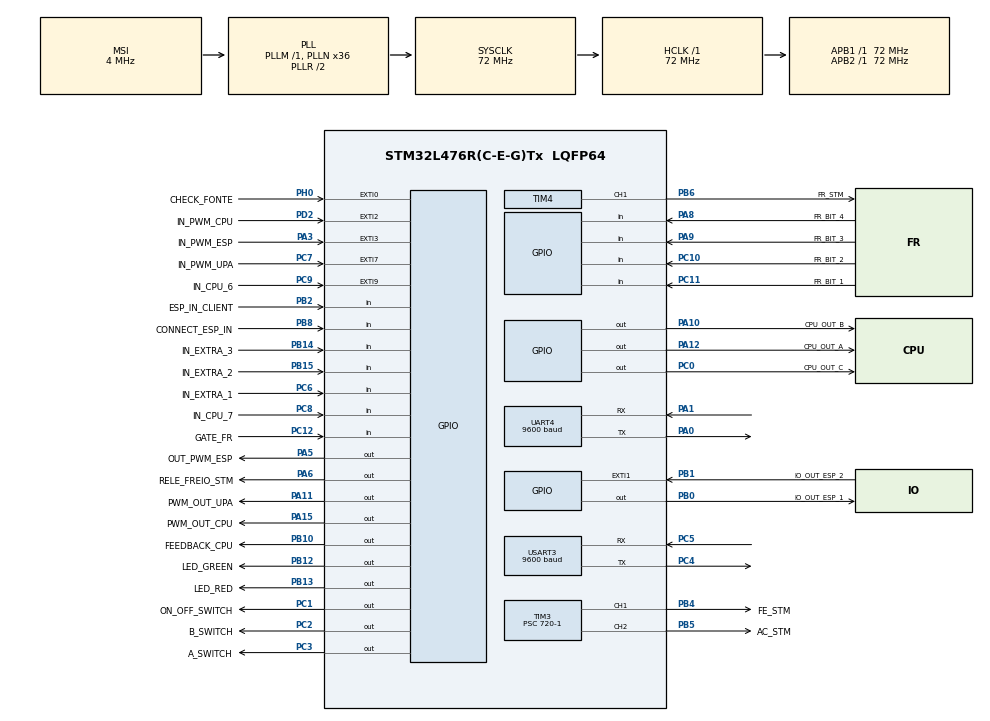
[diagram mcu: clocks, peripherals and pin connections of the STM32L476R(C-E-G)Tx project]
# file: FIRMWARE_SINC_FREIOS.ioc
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Mcu.Family=STM32L4
Mcu.Name=STM32L476R(C-E-G)Tx
Mcu.Package=LQFP64
NVIC.EXTI0_IRQn=true\:0\:0\:false\:false\:true\:true\:true
NVIC.EXTI1_IRQn=true\:0\:0\:false\:false\:true\:true\:true
NVIC.EXTI2_IRQn=true\:0\:0\:false\:false\:true\:true\:true
NVIC.EXTI3_IRQn=true\:0\:0\:false\:false\:true\:true\:true
NVIC.EXTI9_5_IRQn=true\:0\:0\:false\:false\:true\:true\:true
NVIC.PriorityGroup=NVIC_PRIORITYGROUP_4
NVIC.TIM1_UP_TIM16_IRQn=true\:0\:0\:false\:false\:true\:true\:true
NVIC.TIM3_IRQn=true\:0\:0\:false\:false\:true\:true\:true
NVIC.TIM4_IRQn=true\:0\:0\:false\:false\:true\:true\:true
NVIC.UART4_IRQn=true\:0\:0\:false\:false\:true\:true\:true
NVIC.USART3_IRQn=true\:0\:0\:false\:false\:true\:true\:true
PA0.Mode=Asynchronous
PA0.Signal=UART4_TX
PA1.Mode=Asynchronous
PA1.Signal=UART4_RX
PA10.GPIO_Label=CPU_OUT_B
PA10.Signal=GPIO_Output
PA11.GPIO_Label=PWM_OUT_UPA
PA11.Signal=GPIO_Output
PA12.GPIO_Label=CPU_OUT_A
PA12.Signal=GPIO_Output
PA15\ (JTDI).GPIO_Label=PWM_OUT_CPU
PA15\ (JTDI).Signal=GPIO_Output
PA3.GPIO_Label=IN_PWM_ESP
PA3.Signal=GPXTI3
PA5.GPIO_Label=OUT_PWM_ESP
PA5.Signal=GPIO_Output
PA6.GPIO_Label=RELE_FREIO_STM
PA6.Signal=GPIO_Output
PA8.GPIO_Label=FR_BIT_4
PA8.Signal=GPIO_Input
PA9.GPIO_Label=FR_BIT_3
PA9.Signal=GPIO_Input
PB0.GPIO_Label=IO_OUT_ESP_1
PB0.Signal=GPIO_Output
PB1.GPIO_Label=IO_OUT_ESP_2
PB1.GPIO_ModeDefaultEXTI=GPIO_MODE_IT_RISING_FALLING
PB1.Signal=GPXTI1
PB10.GPIO_Label=FEEDBACK_CPU
PB10.Signal=GPIO_Output
PB12.GPIO_Label=LED_GREEN
PB12.Signal=GPIO_Output
PB13.GPIO_Label=LED_RED
PB13.Signal=GPIO_Output
PB14.GPIO_Label=IN_EXTRA_3
PB14.Signal=GPIO_Input
PB15.GPIO_Label=IN_EXTRA_2
PB15.Signal=GPIO_Input
PB2.GPIO_Label=ESP_IN_CLIENT
PB2.Signal=GPIO_Input
PB4\ (NJTRST).GPIO_Label=FE_STM
PB4\ (NJTRST).Signal=S_TIM3_CH1
PB5.GPIO_Label=AC_STM
PB5.Signal=S_TIM3_CH2
PB6.GPIO_Label=FR_STM
PB6.Signal=S_TIM4_CH1
PB8.GPIO_Label=CONNECT_ESP_IN
PB8.Signal=GPIO_Input
PC0.GPIO_Label=CPU_OUT_C
PC0.Signal=GPIO_Output
PC1.GPIO_Label=ON_OFF_SWITCH
PC1.Signal=GPIO_Output
PC10.GPIO_Label=FR_BIT_2
PC10.Signal=GPIO_Input
PC11.GPIO_Label=FR_BIT_1
PC11.Signal=GPIO_Input
PC12.GPIO_Label=GATE_FR
PC12.Signal=GPIO_Input
PC2.GPIO_Label=B_SWITCH
PC2.Signal=GPIO_Output
PC3.GPIO_Label=A_SWITCH
PC3.Signal=GPIO_Output
PC4.Mode=Asynchronous
PC4.Signal=USART3_TX
PC5.Mode=Asynchronous
PC5.Signal=USART3_RX
PC6.GPIO_Label=IN_EXTRA_1
PC6.Signal=GPIO_Input
PC7.GPIO_Label=IN_PWM_UPA
PC7.GPIO_ModeDefaultEXTI=GPIO_MODE_IT_RISING
PC7.Signal=GPXTI7
PC8.GPIO_Label=IN_CPU_7
PC8.Signal=GPIO_Input
PC9.GPIO_Label=IN_CPU_6
PC9.GPIO_ModeDefaultEXTI=GPIO_MODE_IT_RISING_FALLING
PC9.Signal=GPXTI9
PD2.GPIO_Label=IN_PWM_CPU
PD2.GPIO_ModeDefaultEXTI=GPIO_MODE_IT_RISING
PD2.Signal=GPXTI2
PH0-OSC_IN\ (PH0).GPIO_Label=CHECK_FONTE
PH0-OSC_IN\ (PH0).GPIO_ModeDefaultEXTI=GPIO_MODE_IT_RISING_FALLING
PH0-OSC_IN\ (PH0).Signal=GPXTI0
ProjectManager.HeapSize=0x200
ProjectManager.StackSize=0x400
ProjectManager.TargetToolchain=STM32CubeIDE
RCC.AHBFreq_Value=72000000
RCC.APB1Freq_Value=72000000
RCC.APB1TimFreq_Value=72000000
RCC.APB2Freq_Value=72000000
RCC.APB2TimFreq_Value=72000000
RCC.CortexFreq_Value=72000000
RCC.HCLKFreq_Value=72000000
RCC.HSE_VALUE=8000000
RCC.HSI_VALUE=16000000
RCC.LSE_VALUE=32768
RCC.MSI_VALUE=4000000
RCC.PLLN=36
RCC.SYSCLKFreq_VALUE=72000000
RCC.SYSCLKSource=RCC_SYSCLKSOURCE_PLLCLK
RCC.VCOOutputFreq_Value=144000000
SH.S_TIM3_CH1.0=TIM3_CH1,PWM Generation1 CH1
SH.S_TIM3_CH2.0=TIM3_CH2,PWM Generation2 CH2
SH.S_TIM4_CH1.0=TIM4_CH1,PWM Generation1 CH1
TIM16.Period=100-1
TIM16.Prescaler=720-1
TIM3.Channel-PWM\ Generation1\ CH1=TIM_CHANNEL_1
TIM3.Channel-PWM\ Generation2\ CH2=TIM_CHANNEL_2
TIM3.Period=200-1
TIM3.Prescaler=720-1
TIM4.Channel-PWM\ Generation1\ CH1=TIM_CHANNEL_1
TIM4.Period=200-1
TIM4.Prescaler=720-1
UART4.BaudRate=9600
USART3.BaudRate=9600
USART3.VirtualMode-Asynchronous=VM_ASYNC
VP_TIM16_VS_ClockSourceINT.Mode=Enable_Timer
board=custom

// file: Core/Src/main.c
/* USER CODE BEGIN Header */
/**
  ******************************************************************************
  * @file           : main.c
  * @brief          : SEMA Main program body
  * @author			: Matheus Gouveia
  * @brief   		: Sistema de Emergencia e Monitoramento do autonomo (SEMA)
  *          		  This software is for Microcontroller STM32 L476RG
  *          		  Comunicacao com CPU, UPA e ESP32
  *          		  Monitora o sistema e atua caso CPU ou UPA falhem
  *         		  Atua remotamente por botao de emergencia do controlador
  *          		  Retorna feedbacks ao controlador, ao CPU e ao ESP
  *          		  Atua em conjunto com o microcontrolador ESP32
  *          		  Linguagem de programacao utilizada: C
  *
  ******************************************************************************
  * @attention
  *
  * <h2><center>&copy; Copyright (c) 2022 STMicroelectronics.
  * All rights reserved.</center></h2>
  *
  * This software component is licensed by ST under BSD 3-Clause license,
  * the "License"; You may not use this file except in compliance with the
  * License. You may obtain a copy of the License at:
  *                        opensource.org/licenses/BSD-3-Clause
  *
  *  Sistema de Emergencia e Monitoramento do Autonomo (SEMA)
  *  <h2><center>&copy;
  *  All rights reserved.</center></h2>
  *
  *  Created on: 30/08/2022
  *  Os direitos autorais devem ser incluidos
  *  em todas as copias ou partes substanciais do Software.
  *      Author: Matheus Gouveia.
  *
  * ===============================================================================
  *                      ##### EXPLICACAO DO SOFTWARE #####
  *  ===============================================================================
  * [..]
  *
  *  PINOUT:
  *
  *  (#) CPU communication PINS:
  *    (*) IN_CPU_6: Recebimento de comandos do CPU para frear ou desativar freio.
  *                        1 -> Freio atuado. 0-> Freio nao atuado.
  *    (*) FEEDBACK_CPU: Envio de feedbacks para CPU apos atuacao.
  *                        1 -> Freio atuado. 0-> Freio nao atuado.
  *    (*) IN_PWM_CPU: Recebe o PWM indicativo do estado de funcionamento do CPU.
  *    (*) PWM_OUT_CPU: Envia o PWM indicativo do estado de funcionamento do STM32.
  *    (*) GATE_FR: Habilita o ajuste do freio de retardo pelo CPU.
  *    (*) FR_BIT_1: Bit 1 do ajuste do freio de retardo pelo CPU.
  *    (*) FR_BIT_2: Bit 2 "									"
  *    (*) FR_BIT_3: Bit 3 "									"
  *    (*) FR_BIT_4: Bit 4 "									"
  *    (*) CPU_OUT_A: Primeiro pino para informar status do sistema para CPU.
  *    (*) CPU_OUT_B: Segundo pino "									"
  *    (*) CPU_OUT_C: Terceiro pino "									"
  *
  *
  *  (#) UPA communication PINS:
  *    (*) IN_PWM_UPA: Recebe o PWM indicativo do estado de funcionamento da UPA.
  *    (*) PWM_OUT_UPA: Envia o PWM indicativo do estado de funcionamento do STM32.
  *
  *  (#) ESP communication PINS:
  *    (*) IO_OUT_ESP_2: Recebimento de feedbacks do ESP apos atuacao deste.
  *                        1 -> Freio atuado. 0-> Freio nao atuado.
  *    (*) IO_OUT_ESP_1: Envio de feedbacks para ESP apos atuacao.
  *                        1 -> Freio atuado. 0-> Freio nao atuado.
  *    (*) OUT_PWM_ESP: Envia um PWM indicativo do estado de funcionamento do STM32.
  *    (*) IN_PWM_ESP: Recebe o PWM indicativo do estado de funcionamento do ESP.
  *    (*) CONNECT_ESP_IN: Recebe um sinal digital para informar a conexao do ESP.
  *                        1 -> conectado. 0-> nao conectado.
  *    (*) ESP_IN_CLIENTE: Recebe sinal digital do ESP indicando conexao dos clientes.
  *                      1 -> ao menos 1 cliente conectado. 0-> nao conectado.
  *
  *  (#) Actuation pins:
  *    (*) RELE_FREIO_STM: Saida digital responsavel por atuar o rele de freio.
  *    (*) FE_STM: Geracao do PWM do freio de emergencia para a ECM do caminhao.
  *    (*) AC_STM: Geracao do PWM do acelerador para a ECM do caminhao.
  *    (*) FR_STM: Geracao do PWM do freio de retardo para a ECM do caminhao.
  *    (*) ON_OFF_SWITCH: Pino para ligar o MUX
  *    (*) A_SWITCH: Pino A para trocar posicao do MUX.
  *    (*) B_SWITCH: Pino B "						   "
  *
  *  (#) Indication pins:
  *    (*) LED_GREEN: Led para indicar recebimento RX do radio (UART 3)
  *    (*) LED_RED: Led para indicar envio TX para radio (UART 3)
  *    (*) CHECK_FONTE: Indica o estado da bateria do caminhao.
  *    					1 -> Bateria OK. 0-> Falha na alimentacao.
  *
  *  (#) RESUMO:
  *      (+) Em condicoes normais, os reles nao estao atuados.
  *      (+) Posicao do MUX padrao: sinais da UPA.
  *      (+) Recebimento de PWM indicativo de estado de funcionamento:
  *        - Feito por meio de pinos de interrupcao externa.
  *        - A interrupcao zera contadores.
  *        - Se os contadores ultrapassarem um limite (timeout),
  *          e entendido como falha.
  *        - Uma callback ocorre a cada overflow do timer 16 (1 ms).
  *        - Nessa callback, e feito o monitoramento e a
  *          identificacao de falhas.
  *        - Falha ESP: +1, Falha UPA: +2, Falha CPU: +5.
  *          Ex.: Falha de numero 7 = Falha UPA e CPU (5 + 2)
  *
  *      (+) Condicoes de atuacao:
  *        - Falha da UPA
  *        - Falha do CPU
  *        - Falha de ambos
  *        - Ordem direta do controlador (botao de emergencia)
  *        - Com ordem direta do CPU
  *      (+) Na atuacao, o rele atua e envia para ECM os PWM gerados,
  *      	 em conjunto com a troca da posicao do MUX (STM).
  *      (+) Um menu de configuracao pode ser acessado.
  *        - Os parametros configurados podem ser salvos na flash.
  *        - Os parametros configurados podem ser apagados da flash.
  *      (+) Eventualidades sao informadas a qualquer momento por UART4,
  *          contendo timestamp (tempo apos inicio do funcionamento).
  *      (+) Conexao:
  *        - Recebe PING do transmissor na torre de controle.
  *        - Responde PONG ao transmissor.
  *        - Se parar de receber PING, indica perda de conexao do STM.
  *      (+) A placa possui sistema preventivo de queda de energia.
  *        - Se o sistema perder a alimentacao que vem da bateria
  *      	 do caminhao, uma bateria reserva em paralelo, protegida
  *      	 por um diodo, passa a alimentar o sistema, para mante-lo
  *      	 em devido funcionamento.
  *        - Se perder a alimentacao do caminhao, uma mensagem sera
  *        	 enviada remotamente ao controlador na torre de controle.
  *        - Com falha dos demais componentes do autonomo (UPA e CPU)
  *          o STM32 ira frear de imediato.
  *
  ******************************************************************************
  */
/* USER CODE END Header */
#include "main.h"

/* USER CODE BEGIN Includes */

#include "string.h"
#include <stdio.h>
#include <stdlib.h>
#include <SEMA_definitions.h>
#include <FLASH.h>
#include <serial_radio.h>
#include <transmissao_dados.h>
#include <Menu_SEMA.h>

/* USER CODE END Includes */

void SystemClock_Config(void);
static void MX_GPIO_Init(void);
static void MX_TIM3_Init(void);
static void MX_TIM4_Init(void);
static void MX_UART4_Init(void);
static void MX_USART3_UART_Init(void);
static void MX_TIM16_Init(void);

/* USER CODE BEGIN 0 */

////////////////////////////////////////////////////////////////////////////////
///
/******************************************************************************
 ************************* Funcoes no escopo main *****************************
 ******************************************************************************/

/**------------------------------------------------------------------------------------
  * @brief STM Function to Get Time by timer.
  *
  *
  * @param  none
  *
  * @retval uwTick
  */
uint32_t HAL_GetTick(void){
  return uwTick;
}

/**------------------------------------------------------------------------------------
  * @brief Chave On/Off do Mux
  *
  * @param  MODE: ON or OFF.
  *
  * @retval void
  */
void SET_SELECTOR(int MODE){

	/* MUX On/Off
	 * 1 -> OFF
	 * 0 -> ON */
	HAL_GPIO_WritePin(ON_OFF_SWITCH_GPIO_Port, ON_OFF_SWITCH_Pin, !MODE);

}

/**------------------------------------------------------------------------------------
  * @brief Posicao Mux - L L - ESP
  *
  * @param  none
  *
  * @retval void
  */
void AB_Position_ESP(){

	HAL_GPIO_WritePin(A_SWITCH_GPIO_Port, A_SWITCH_Pin, LOW);
	HAL_GPIO_WritePin(B_SWITCH_GPIO_Port, B_SWITCH_Pin, LOW);

}

/**------------------------------------------------------------------------------------
  * @brief Posicao Mux - H L - STM
  *
  * @param  none
  *
  * @retval void
  */
void AB_Position_STM(){

	HAL_GPIO_WritePin(A_SWITCH_GPIO_Port, A_SWITCH_Pin, HIGH);
	HAL_GPIO_WritePin(B_SWITCH_GPIO_Port, B_SWITCH_Pin, LOW);

}

/**------------------------------------------------------------------------------------
  * @brief Posicao Mux - L H - UPA
  *
  * @param  none
  *
  * @retval void
  */
void AB_Position_UPA(){

	HAL_GPIO_WritePin(A_SWITCH_GPIO_Port, A_SWITCH_Pin, LOW);
	HAL_GPIO_WritePin(B_SWITCH_GPIO_Port, B_SWITCH_Pin, HIGH);

}

/**------------------------------------------------------------------------------------
  * @brief Inicializar pinos OUTPUT com valores padrao.
  *
  * @param  none
  *
  * @retval void
  */
void Init_Output_Pins(){

	HAL_GPIO_WritePin(PWM_OUT_CPU_GPIO_Port, PWM_OUT_CPU_Pin, LOW);
	HAL_GPIO_WritePin(PWM_OUT_UPA_GPIO_Port, PWM_OUT_UPA_Pin, LOW);
	HAL_GPIO_WritePin(OUT_PWM_ESP_GPIO_Port, OUT_PWM_ESP_Pin, LOW);

	HAL_GPIO_WritePin(RELE_FREIO_STM_GPIO_Port, RELE_FREIO_STM_Pin, LOW);
	HAL_GPIO_WritePin(FEEDBACK_CPU_GPIO_Port, FEEDBACK_CPU_Pin, LOW);
	HAL_GPIO_WritePin(LED_GREEN_GPIO_Port, LED_GREEN_Pin, LOW);
	HAL_GPIO_WritePin(LED_RED_GPIO_Port, LED_RED_Pin, LOW);

	HAL_GPIO_WritePin(IO_OUT_ESP_1_GPIO_Port, IO_OUT_ESP_1_Pin, LOW);

	/* Posicao padrao: MUX Ligado */
	SET_SELECTOR(ON);

	/* Posicao padrao: Sinais da UPA */
	AB_Position_UPA();

	/*	HAL_GPIO_WritePin(ON_OFF_SWITCH_GPIO_Port, ON_OFF_SWITCH_Pin, LOW); */
	HAL_GPIO_WritePin(CPU_OUT_A_GPIO_Port, CPU_OUT_A_Pin, LOW);
	HAL_GPIO_WritePin(CPU_OUT_B_GPIO_Port, CPU_OUT_B_Pin, LOW);
	HAL_GPIO_WritePin(CPU_OUT_C_GPIO_Port, CPU_OUT_C_Pin, LOW);

}

/**------------------------------------------------------------------------------------
  * @brief Atuacao do rele e envio de feedbacks.
  *
  * @OBS Futuramente deveria haver a verificacao
  *  da atuacao do rele (INPUT) para confirmar.
  *
  * @param  none
  *
  * @retval void
  */
void Acionamento(){

	/* Ligar MUX */
	SET_SELECTOR(ON);

	/*Acionar por BREAK_STATUS */
	HAL_GPIO_WritePin(RELE_FREIO_STM_GPIO_Port,RELE_FREIO_STM_Pin, BREAK_STATUS);

	if (BREAK_STATUS){
		/* Mudar para a posicao STM */
		AB_Position_STM();
	}
	else {
		AB_Position_UPA();
	}

	/* Feedback para CPU */
	HAL_GPIO_WritePin(FEEDBACK_CPU_GPIO_Port, FEEDBACK_CPU_Pin, BREAK_STATUS);

	/* Feedback para ESP */
	HAL_GPIO_WritePin(IO_OUT_ESP_1_GPIO_Port, IO_OUT_ESP_1_Pin, BREAK_STATUS);

	/* Preencher buffer para enviar feedback ao transmissor */
	PreencherBuffer(BREAK_STATUS);

	/*Informar para monitor serial */
	strcat(BUFFER_SERIAL, "\n\rComando Efetuado. Enviando Feedback...\r\n");

	/* Transmitir feedback ao transmissor */

	//if (!feedback_multiple){
	//	HAL_UART_Transmit(&huart3, BUFFER_TRANSMIT, strlen(BUFFER_TRANSMIT), 100);
	//	//HAL_UART_Transmit_DMA(&huart3, BUFFER_TRANSMIT, strlen(BUFFER_TRANSMIT));
	//}

	//strcat(BUFFER_SERIAL, "\n\rFeedback enviado. \r\n");

}

/**------------------------------------------------------------------------------------
  * @brief Funcao callback para dados recebidos do radio.
  *
  * @OBS Interrupcao UART 3. Apos start byte preenche buffer,
  * 	 parando quando recebe o end byte. Apos buffer completo,
  * 	 verifica a mensagem.
  *
  * @param  *huart:		Objeto UART.
  *
  * @retval void
  */
void HAL_UART_RxCpltCallback(UART_HandleTypeDef *huart){

	/* Acender LED de dado Serial recebido */
	HAL_GPIO_WritePin(LED_GREEN_GPIO_Port, LED_GREEN_Pin, HIGH);

	/* contador_dados => index */
	static int contador_dados = 0;
	/* Preencher a partir do Start Byte */
	static int HABILITAR_PREENCHIMENTO = 0;

	if (Data[0] == end_byte[0]) {
		contador_dados = 0;
		HABILITAR_PREENCHIMENTO = 0;
		VerificarComando();
	}
	else {
		if (Data[0] == start_byte[0]){
			HABILITAR_PREENCHIMENTO = 1;
		}
		else if (HABILITAR_PREENCHIMENTO){
			FLAG_XBEE_PING = 0;
			BUFFER_RECEIVE[contador_dados] = Data[0];
			contador_dados++;
		}
	}
	/* Manter continuo recebimento */
	HAL_UART_Receive_IT(&huart3, Data, 1);
}

/**------------------------------------------------------------------------------------
  * @brief Funcao callback quando dados forem enviados.
  *
  * @OBS Interrupcao UART 3.
  *
  * @param  *huart:		Objeto UART.
  *
  * @retval void
  */
void HAL_UART_TxCpltCallback(UART_HandleTypeDef *huart){

	if (huart == &huart3){
		/* Acender LED de dado Serial enviado */
		HAL_GPIO_WritePin(LED_RED_GPIO_Port, LED_RED_Pin, HIGH);
	}

}

/**------------------------------------------------------------------------------------
  * @brief Toggle Status Pins para indicar funcionamento.
  *
  *
  * @param  STATUS:		Digital H/L.
  *
  * @retval void
  */
void TOGGLE_STATUS_PINS(bool STATUS){

	HAL_GPIO_WritePin(PWM_OUT_CPU_GPIO_Port, PWM_OUT_CPU_Pin, STATUS);
	HAL_GPIO_WritePin(PWM_OUT_UPA_GPIO_Port, PWM_OUT_UPA_Pin, STATUS);
	HAL_GPIO_WritePin(OUT_PWM_ESP_GPIO_Port, OUT_PWM_ESP_Pin, STATUS);

}

/**------------------------------------------------------------------------------------
  * @brief Ajuste do Duty Cycle do Freio de Retardo pelo CPU.
  *
  * @param  none
  *
  * @retval void
  */
void AJUSTAR_DUTY_CYCLE_FR(){

	/* Se GATE_FR for para nivel logico alto, o CPU
	 * esta solicitando o controle do FR. Em seguida
	 * o valor correspondente (4 bits) sera calculado
	 * para ajustar a largura do pulso do PWM. */

	/* Variaveis de controle do FR */
	CONTROLE_FR[3] = HAL_GPIO_ReadPin(FR_BIT_1_GPIO_Port, FR_BIT_1_Pin);
	CONTROLE_FR[2] = HAL_GPIO_ReadPin(FR_BIT_2_GPIO_Port, FR_BIT_2_Pin);
	CONTROLE_FR[1] = HAL_GPIO_ReadPin(FR_BIT_3_GPIO_Port, FR_BIT_3_Pin);
	CONTROLE_FR[0] = HAL_GPIO_ReadPin(FR_BIT_4_GPIO_Port, FR_BIT_4_Pin);

	int VALOR_FR = CONTROLE_FR[3] + 2*CONTROLE_FR[2] + 4*CONTROLE_FR[1] +
			8*CONTROLE_FR[0];

	static int VALOR_FR_ANTERIOR = 30 /*UM VALOR QUALQUER DIFERENTE DE FR*/;

	/* Desnecessario reajuste se o valor for o mesmo do anterior */
	if (VALOR_FR != VALOR_FR_ANTERIOR){
		int VALUE_INT = 0;

		/* TAXA = (VALOR_FR/VALOR_FR maximo), VALOR_FR maximo = 15 */
		float TAXA = (float) (VALOR_FR*100/15)/100;

		/* VALUE_INT = TAXA*(LARGURA DE PULSO MAXIMA) */
		VALUE_INT = (int) (TAXA*((DUTY_CYCLE_FR - DUTY_CYCLE_FR_MIN)*(200-1)/100));
		VALUE_INT = VALUE_INT + (int)(DUTY_CYCLE_FR_MIN*(200-1)/100);

		htim4.Instance -> CCR1 = VALUE_INT;

		/* Historico */
		VALOR_FR_ANTERIOR = VALOR_FR;
	}
}

/**------------------------------------------------------------------------------------
  * @brief Leitura dos pinos digitais de entrada. Informa sobre
  * 	   clientes conectados.
  *
  * @param  none
  *
  * @retval void
  */
void LEITURA_INPUT_PINS(){

	/* LEITURA HABILITAR CONTROLE FREIO RETARDO */
	GATE_FR = HAL_GPIO_ReadPin(GATE_FR_GPIO_Port, GATE_FR_Pin);

	/* Extras (Em aberto)
	HAL_GPIO_ReadPin(IN_EXTRA_1_GPIO_Port, IN_EXTRA_1_Pin);
	HAL_GPIO_ReadPin(IN_EXTRA_2_GPIO_Port, IN_EXTRA_2_Pin);
	HAL_GPIO_ReadPin(IN_EXTRA_3_GPIO_Port, IN_EXTRA_3_Pin);
	HAL_GPIO_ReadPin(IN_CPU_6_GPIO_Port, IN_CPU_6_Pin);
	HAL_GPIO_ReadPin(IN_CPU_7_GPIO_Port, IN_CPU_7_Pin);
	*/

	STATUS_CONNECTION_ESP = HAL_GPIO_ReadPin(CONNECT_ESP_IN_GPIO_Port, CONNECT_ESP_IN_Pin);
	STATUS_CLIENTS_ESP = HAL_GPIO_ReadPin(ESP_IN_CLIENT_GPIO_Port, ESP_IN_CLIENT_Pin);

	/* Armazenar leitura anterior clientes. */
	static int LEITURA_ANTERIOR_CLIENTES = 0;

	if (STATUS_CLIENTS_ESP && !LEITURA_ANTERIOR_CLIENTES){
		/* ADVERTER QUE PELO MENOS 1 CLIENTE CONECTOU */
		LEITURA_ANTERIOR_CLIENTES = 1;
		show_now();
		strcat(BUFFER_SERIAL, "\r\nPelo menos um cliente conectado ao servidor ESP.");
	}

	else if (!STATUS_CLIENTS_ESP && LEITURA_ANTERIOR_CLIENTES){
		/* ADVERTER QUE CLIENTES DESCONECTARAM */
		LEITURA_ANTERIOR_CLIENTES = 0;
		show_now();
		strcat(BUFFER_SERIAL, "\r\nNenhum cliente conectado ao servidor ESP.");
	}

}

/**------------------------------------------------------------------------------------
  * @brief  Callback periodica para identificar falhas e monitorar.
  *
  * @param  * htim: timer 16.
  *
  * @retval void
  */
void HAL_TIM_PeriodElapsedCallback(TIM_HandleTypeDef* htim){

	/* Somar as flags. Se nao houver interrupcao externa, nao zera */
	FLAG_SOMA_ESP++;
	FLAG_SOMA_UPA++;
	FLAG_SOMA_CPU++;
	FLAG_XBEE_PING++;

	/* FALHA EM QUAL EQUIPAMENTO
	 * (1 -> ESP, 2 -> UPA, 5 -> CPU) */
	int status_identifier = 0;

	if (FLAG_SOMA_ESP > TIMEOUT_TIMER){
		status_identifier++;
	}
	if (FLAG_SOMA_UPA > TIMEOUT_TIMER){
		status_identifier = status_identifier + 2;
	}
	if (FLAG_SOMA_CPU > TIMEOUT_TIMER){
		status_identifier = status_identifier + 5;
	}

	MONITORAMENTO(status_identifier);
}

/**------------------------------------------------------------------------------------
  * @brief  Callback ao receber comandos do CPU. Atua apos
  *         estado do pino variar.
  *
  * @param  none
  *
  * @retval void
  */
void CPU_Handler(){

	static int count_cpu_orders = 0;
	static uint32_t time_last_order = 0;
	uint32_t time_interval = 0;
	static uint32_t sum_intervals = 0;

	/* Secao para evitar freio loop - bug do cpu */
	if (count_cpu_orders > 5 && sum_intervals < 20000){
		show_now();
		strcat(BUFFER_SERIAL, "\r\nABORTAR COMANDO CPU. FREIO ACIONADO.\r\n");
		BREAK_STATUS = 1;
		feedback_multiple = 0;
		Acionamento();
		return;
	}

	if (time_last_order != 0){
		time_interval = HAL_GetTick() - time_last_order;
		sum_intervals += time_interval;
	}
	if (sum_intervals > 30000){
		sum_intervals = 0;
		count_cpu_orders = 0;
	}
	time_last_order = HAL_GetTick();

	if (HAL_GPIO_ReadPin(IN_CPU_6_GPIO_Port, IN_CPU_6_Pin) && !BREAK_STATUS){
		show_now();
		strcat(BUFFER_SERIAL, "\r\nFREIO ACIONADO PELA CPU.\r\n");
		BREAK_STATUS = 1;
		count_cpu_orders++;
	}
	else if (!HAL_GPIO_ReadPin(IN_CPU_6_GPIO_Port, IN_CPU_6_Pin) && BREAK_STATUS){
		show_now();
		strcat(BUFFER_SERIAL, "\r\nFREIO DESATIVADO PELA CPU.\r\n");
		BREAK_STATUS = 0;
		count_cpu_orders++;
	}

	/* Ativar multiplos feedbacks para radio */
	feedback_multiple = 1;

	Acionamento();

}

/**------------------------------------------------------------------------------------
  * @brief  Callback ao receber feedbacks do ESP.
  * 		Informa no serial que houve atuacao do ESP.
  *
  * @param  none
  *
  * @retval void
  */
void ESP_Handler(){

	static bool initialized = false;

	if (HAL_GPIO_ReadPin(IO_OUT_ESP_2_GPIO_Port, IO_OUT_ESP_2_Pin)){
		show_now();
		strcat(BUFFER_SERIAL, "\r\nFREIO ACIONADO PELO ESP32.\r\n");
	}

	else {
		if (!initialized){
			/* Verificar inicializao do ESP */
			initialized = true;
		}
		else {
			show_now();
			strcat(BUFFER_SERIAL, "\r\nFREIO DESATIVADO PELO ESP32. \r\n");
		}
	}
}

/**------------------------------------------------------------------------------------
  * @brief  Callback para interrupcoes externas.
  *
  * @param  GPIO_Pin: Pino em que houve interrupcao.
  *
  * @retval void
  */
void HAL_GPIO_EXTI_Callback(uint16_t GPIO_Pin){

	/* STATUS - Verificar apenas borda de subida */
	if (GPIO_Pin == IN_PWM_ESP_Pin){
		FLAG_SOMA_ESP = 0;
	}
	else if (GPIO_Pin == IN_PWM_UPA_Pin){
		FLAG_SOMA_UPA = 0;
	}
	else if (GPIO_Pin == IN_PWM_CPU_Pin){
		FLAG_SOMA_CPU = 0;
	}
	else if (GPIO_Pin == IN_CPU_6_Pin){
		/*borda de subida ou descida */
		CPU_Handler();
	}
	else if (GPIO_Pin == IO_OUT_ESP_2_Pin){
		/*borda de subida ou descida */
		ESP_Handler();
	}
	else if (GPIO_Pin == CHECK_FONTE_Pin){

		/* Queda ou recuperacao da alimentacao. Informar radio. */
		if (HAL_GPIO_ReadPin(CHECK_FONTE_GPIO_Port, CHECK_FONTE_Pin)){
			PreencherBuffer(FRAME_BATTERY_FAIL);
		}
		if (!HAL_GPIO_ReadPin(CHECK_FONTE_GPIO_Port, CHECK_FONTE_Pin)){
			PreencherBuffer(FRAME_BATTERY_RETURN);
		}

		HAL_UART_Transmit_IT(&huart3, BUFFER_TRANSMIT, strlen(BUFFER_TRANSMIT));
	}
}

/**------------------------------------------------------------------------------------
  * @brief  Enviar multiplos feedbacks para radio.
  *
  * @param  none
  *
  * @retval void
  */
void Multiple_Feedback(){

	int num_of_tries = NUMBER_OF_FEEDBACKS;
	static int counter = 0;
	char num_of_tries_STR[16];

	if (counter < num_of_tries){
		strcat(BUFFER_SERIAL, "\r\nTentativa de feedback: ");
		IntParaString(counter + 1, num_of_tries_STR, 10);
		strcat(BUFFER_SERIAL, num_of_tries_STR);
		strcat(BUFFER_SERIAL, "\n\r");
		counter++;
	}
	else {
		feedback_multiple = 0;
		counter = 0;
	}
}

/**------------------------------------------------------------------------------------
  * @brief  Ajuste dos PWMs: freio emergencia, acelerador e freio retardo.
  *
  * @OBS	PWM ajustado por interpolacao linear.
  *
  * @param  none
  *
  * @retval void
  */
void PWM_DEFINITION() {

  DUTYCYCLE_FE = (float)DUTYFE*(DUTY_CYCLE_FE - DUTY_CYCLE_FE_MIN);
  DUTYCYCLE_FE += DUTY_CYCLE_FE_MIN*100;
  DUTYCYCLE_FE = DUTYCYCLE_FE/100;

  DUTYCYCLE_AC = (float)DUTYACEL*(DUTY_CYCLE_AC_MAX - DUTY_CYCLE_AC);
  DUTYCYCLE_AC += DUTY_CYCLE_AC*100;
  DUTYCYCLE_AC = DUTYCYCLE_AC/100;

  DUTYCYCLE_FR = (float)DUTYFR*(DUTY_CYCLE_FR - DUTY_CYCLE_FR_MIN);
  DUTYCYCLE_FR += DUTY_CYCLE_FR_MIN*100;
  DUTYCYCLE_FR = DUTYCYCLE_FR/100;

    /* FREIO DE EMERGENCIA */
  PWM_FE = (int) (DUTYCYCLE_FE*(200-1)/100);

  /* ACELERADOR */
  PWM_AC = (int)(DUTYCYCLE_AC*(200-1)/100);

  /* FREIO DE RETARDO */
  PWM_FR = (int) (DUTYCYCLE_FR*(200-1)/100);

}

/**------------------------------------------------------------------------------------
  * @brief  Contador para variar pinos de status. Envio de multiplos feedbacks.
  *
  * @param  none
  *
  * @retval void
  */
void TOGGLE_PWM_STATUS(){

	CONT_LOOP++;
	if (CONT_LOOP > MAX_LOOP){
		Toggle_Pins = !Toggle_Pins;
		TOGGLE_STATUS_PINS(Toggle_Pins);

		/* Apagar LEDs de indicacao de transmissao */
		HAL_GPIO_WritePin(LED_RED_GPIO_Port, LED_RED_Pin, LOW);
		HAL_GPIO_WritePin(LED_GREEN_GPIO_Port, LED_GREEN_Pin, LOW);

		CONT_LOOP = 0;
		if (feedback_multiple){
			Multiple_Feedback();
		}
	}
}

/**------------------------------------------------------------------------------------
  * @brief  Inicializacao de parametros, verificar memoria flash.
  *
  * @param  none
  *
  * @retval void
  */
void inicializar_parametros(){

	char* token1;

	char ID_READ[30];
	char TIMEOUT_PING_CHAR_READ[8];
	char DUTY_CYCLE_FE_CHAR_READ[8];
	char DUTY_CYCLE_FE_MIN_CHAR_READ[8];
	char DUTY_CYCLE_FR_CHAR_READ[8];
	char DUTY_CYCLE_FR_MIN_CHAR_READ[8];
	char DUTY_CYCLE_AC_CHAR_READ[8];
	char DUTY_CYCLE_AC_MAX_CHAR_READ[8];
	char DUTYFE_CHAR_READ[4];
	char DUTYACEL_CHAR_READ[4];
	char DUTYFR_CHAR_READ[4];
	char NUMBER_FEEDBACKS_CHAR_READ[4];

	uint32_t TIMEOUT_PING_INT_READ;
	float DUTY_CYCLE_FE_INT_READ;
	float DUTY_CYCLE_FE_MIN_INT_READ;
	float DUTY_CYCLE_FR_INT_READ;
	float DUTY_CYCLE_FR_MIN_INT_READ;
	float DUTY_CYCLE_AC_INT_READ;
	float DUTY_CYCLE_AC_MAX_INT_READ;
	uint8_t DUTYFE_INT_READ;
	uint8_t DUTYACEL_INT_READ;
	uint8_t DUTYFR_INT_READ;
	uint8_t NUMBER_FEEDBACKS_INT_READ;

	FLASH_le_string_0xFF(END_STG, BUFFER_FLASH_L);

	if (strlen(BUFFER_FLASH_L)){

		/* Se ha dados na memoria flash */

		escreve_USB("\n\r\n\rDados armazenados na Flash:\n\r");
		escreve_USB(BUFFER_FLASH_L);

		/* Capturar dados */
		token1 = strtok(BUFFER_FLASH_L, ","); strcpy(ID_READ, token1);
		token1 = strtok(NULL, ","); strcpy(TIMEOUT_PING_CHAR_READ, token1);
		token1 = strtok(NULL, ","); strcpy(DUTY_CYCLE_FE_CHAR_READ, token1);
		token1 = strtok(NULL, ","); strcpy(DUTY_CYCLE_FE_MIN_CHAR_READ, token1);
		token1 = strtok(NULL, ","); strcpy(DUTY_CYCLE_FR_CHAR_READ, token1);
		token1 = strtok(NULL, ","); strcpy(DUTY_CYCLE_FR_MIN_CHAR_READ, token1);
		token1 = strtok(NULL, ","); strcpy(DUTY_CYCLE_AC_CHAR_READ, token1);
		token1 = strtok(NULL, ","); strcpy(DUTY_CYCLE_AC_MAX_CHAR_READ, token1);
		token1 = strtok(NULL, ","); strcpy(DUTYFE_CHAR_READ, token1);
		token1 = strtok(NULL, ","); strcpy(DUTYACEL_CHAR_READ, token1);
		token1 = strtok(NULL, ","); strcpy(DUTYFR_CHAR_READ, token1);
		token1 = strtok(NULL, ","); strcpy(NUMBER_FEEDBACKS_CHAR_READ, token1);

		TIMEOUT_PING_INT_READ = atoi(TIMEOUT_PING_CHAR_READ);
		DUTY_CYCLE_FE_INT_READ = atof(DUTY_CYCLE_FE_CHAR_READ);
		DUTY_CYCLE_FE_MIN_INT_READ = atof(DUTY_CYCLE_FE_MIN_CHAR_READ);
		DUTY_CYCLE_FR_INT_READ = atof(DUTY_CYCLE_FR_CHAR_READ);
		DUTY_CYCLE_FR_MIN_INT_READ = atof(DUTY_CYCLE_FR_MIN_CHAR_READ);
		DUTY_CYCLE_AC_INT_READ = atof(DUTY_CYCLE_AC_CHAR_READ);
		DUTY_CYCLE_AC_MAX_INT_READ = atof(DUTY_CYCLE_AC_MAX_CHAR_READ);
		DUTYFE_INT_READ = atoi(DUTYFE_CHAR_READ);
		DUTYACEL_INT_READ = atoi(DUTYACEL_CHAR_READ);
		DUTYFR_INT_READ = atoi(DUTYFR_CHAR_READ);
		NUMBER_FEEDBACKS_INT_READ = atoi(NUMBER_FEEDBACKS_CHAR_READ);

		/* Verificar se dados nao estao corrompidos */
		if(strlen(ID_READ) < 20 && strlen(ID_READ) > 0){ memset(ID,0,strlen(ID)); strcat(ID, ID_READ); }
		if(!((TIMEOUT_PING_INT_READ > 10000) || (TIMEOUT_PING_INT_READ < 1000))){ TIMEOUT_PING = TIMEOUT_PING_INT_READ;}
		if(!((DUTY_CYCLE_FE_INT_READ > 100) || (DUTY_CYCLE_FE_INT_READ < 60))){ DUTY_CYCLE_FE = DUTY_CYCLE_FE_INT_READ;}
		if(!((DUTY_CYCLE_FE_MIN_INT_READ > 40) || (DUTY_CYCLE_FE_MIN_INT_READ <= 0))){ DUTY_CYCLE_FE_MIN = DUTY_CYCLE_FE_MIN_INT_READ;}
		if(!((DUTY_CYCLE_FR_INT_READ > 100) || (DUTY_CYCLE_FR_INT_READ < 50))){ DUTY_CYCLE_FR = DUTY_CYCLE_FR_INT_READ;}
		if(!((DUTY_CYCLE_FR_MIN_INT_READ > 50) || (DUTY_CYCLE_FR_MIN_INT_READ <= 0))){ DUTY_CYCLE_FR_MIN = DUTY_CYCLE_FR_MIN_INT_READ;}
		if(!((DUTY_CYCLE_AC_INT_READ > 40) || (DUTY_CYCLE_AC_INT_READ <= 0))){ DUTY_CYCLE_AC = DUTY_CYCLE_AC_INT_READ;}
		if(!((DUTY_CYCLE_AC_MAX_INT_READ > 100) || (DUTY_CYCLE_AC_MAX_INT_READ < 30))){ DUTY_CYCLE_AC_MAX = DUTY_CYCLE_AC_MAX_INT_READ;}
		if(!((DUTYFE_INT_READ > 100) || (DUTYFE_INT_READ < 50))){ DUTYFE = DUTYFE_INT_READ;}
		if(!((DUTYACEL_INT_READ > 50) || (DUTYACEL_INT_READ < 0))){ DUTYACEL = DUTYACEL_INT_READ;}
		if(!((DUTYFR_INT_READ > 100) || (DUTYFR_INT_READ < 50))){ DUTYFR = DUTYFR_INT_READ;}
		if(!((NUMBER_FEEDBACKS_INT_READ > 30) || (NUMBER_FEEDBACKS_INT_READ <= 0))){ NUMBER_OF_FEEDBACKS = NUMBER_FEEDBACKS_INT_READ;}

	}

	/* Apagar as variaveis CHAR atuais */
	memset(TIMEOUT_PING_CHAR, 0, strlen(TIMEOUT_PING_CHAR));
	memset(DUTY_CYCLE_FE_CHAR, 0, strlen(DUTY_CYCLE_FE_CHAR));
	memset(DUTY_CYCLE_FE_MIN_CHAR, 0, strlen(DUTY_CYCLE_FE_MIN_CHAR));
	memset(DUTY_CYCLE_FR_CHAR, 0, strlen(DUTY_CYCLE_FR_CHAR));
	memset(DUTY_CYCLE_FR_MIN_CHAR, 0, strlen(DUTY_CYCLE_FR_MIN_CHAR));
	memset(DUTY_CYCLE_AC_CHAR, 0, strlen(DUTY_CYCLE_AC_CHAR));
	memset(DUTY_CYCLE_AC_MAX_CHAR, 0, strlen(DUTY_CYCLE_AC_MAX_CHAR));
	memset(DUTYFE_CHAR, 0, strlen(DUTYFE_CHAR));
	memset(DUTYACEL_CHAR, 0, strlen(DUTYACEL_CHAR));
	memset(DUTYFR_CHAR, 0, strlen(DUTYFR_CHAR));
	memset(NUMBER_OF_FEEDBACKS_CHAR, 0, strlen(NUMBER_OF_FEEDBACKS_CHAR));

	/* Atualizar as variaveis CHAR */
	sprintf(TIMEOUT_PING_CHAR, "%d", TIMEOUT_PING);
	sprintf(DUTYFE_CHAR, "%d", DUTYFE);
	sprintf(DUTYACEL_CHAR, "%d", DUTYACEL);
	sprintf(DUTYFR_CHAR, "%d", DUTYFR);
	sprintf(NUMBER_OF_FEEDBACKS_CHAR, "%d", NUMBER_OF_FEEDBACKS);

	ftoa(DUTY_CYCLE_FE, DUTY_CYCLE_FE_CHAR, 2);
	ftoa(DUTY_CYCLE_FE_MIN, DUTY_CYCLE_FE_MIN_CHAR, 2);
	ftoa(DUTY_CYCLE_FR, DUTY_CYCLE_FR_CHAR, 2);
	ftoa(DUTY_CYCLE_FR_MIN, DUTY_CYCLE_FR_MIN_CHAR, 2);
	ftoa(DUTY_CYCLE_AC, DUTY_CYCLE_AC_CHAR, 2);
	ftoa(DUTY_CYCLE_AC_MAX, DUTY_CYCLE_AC_MAX_CHAR, 2);

}

/**------------------------------------------------------------------------------------
  * @brief  Atuacao dos PWMs: freio emergencia, acelerador e freio retardo.
  *
  * @param  none
  *
  * @retval void
  */
void atuar_PWMs(){

	htim3.Instance -> CCR1 = PWM_FE;
	htim3.Instance -> CCR2 = PWM_AC;
	htim4.Instance -> CCR1 = PWM_FR;

}

/**------------------------------------------------------------------------------------
  * @brief  Enviar por serial o horario de agora, desde que o sistema foi ligado.
  *
  * @param  none
  *
  * @retval void
  */
void show_now(){
	millis = HAL_GetTick();
	MILLIS_INFORMAR_HORARIO(millis);
}

/* USER CODE END 0 */

int main(void)
{

  /* MCU Configuration--------------------------------------------------------*/

  /* Reset of all peripherals, Initializes the Flash interface and the Systick. */
  HAL_Init();

  /* Configure the system clock */
  SystemClock_Config();

  /* USER CODE BEGIN SysInit */
  /* Aguardar inicializacao do CPU */
  while(HAL_GetTick() < 27000);
  /* USER CODE END SysInit */

  /* Initialize all configured peripherals */
  MX_GPIO_Init();
  MX_TIM3_Init();
  MX_TIM4_Init();
  MX_UART4_Init();
  MX_USART3_UART_Init();
  MX_TIM16_Init();
  /* USER CODE BEGIN 2 */

  /* INICIALIZAR SAIDAS GPIO DIGITAIS */
  Init_Output_Pins();

  /* Verificar dados salvos na flash */
  inicializar_parametros();

  /* PRESENT FIRMWARE INFORMATION */
  FIRMWARE_BEGIN();

  /* GERAR FRAMES DE COMUNICACAO COM O RADIO */
  GerarFrames();

  /* Largura de pulso dos PWMs */
  PWM_DEFINITION();

  /* Indicacao Reset */
  HAL_UART_Transmit_IT(&huart4, "\n\r=========== !!! SYSTEM STATUS: ESP...OK,"
		  " UPA...OK, CPU...OK. !!! ===========\r\n", 78);

  /* Inicializar PWMs */
  HAL_TIM_PWM_Start(&htim3, TIM_CHANNEL_1);
  HAL_TIM_PWM_Start(&htim3, TIM_CHANNEL_2);
  HAL_TIM_PWM_Start(&htim4, TIM_CHANNEL_1);

  atuar_PWMs();

  /* DAR INICIO AO TIMER 16 para monitoramento */
  HAL_TIM_Base_Start_IT(&htim16);

  /* Receber dados do radio por serial */
  HAL_UART_Receive_IT(&huart3, Data, 1);

  /* USER CODE END 2 */

  /* Infinite loop */
  /* USER CODE BEGIN WHILE */
  while (1)
  {
	  /* LEITURA DOS PINOS DIGITAIS */
	  LEITURA_INPUT_PINS();

	  /* GERACAO DO SINAL STATUS */
	  TOGGLE_PWM_STATUS();

	  /* AJUSTE FREIO RETARDO */
	  if (GATE_FR){
		  AJUSTAR_DUTY_CYCLE_FR();
	  }

	  /* Aguardar solicitacoes do usuario */
	  Handle_user(100 /*time ms*/);

    /* USER CODE END WHILE */

  }
}

void SystemClock_Config(void)
{
  RCC_OscInitTypeDef RCC_OscInitStruct = {0};
  RCC_ClkInitTypeDef RCC_ClkInitStruct = {0};

  /** Configure the main internal regulator output voltage
  */
  if (HAL_PWREx_ControlVoltageScaling(PWR_REGULATOR_VOLTAGE_SCALE1) != HAL_OK)
  {
    Error_Handler();
  }
  /** Initializes the RCC Oscillators according to the specified parameters
  * in the RCC_OscInitTypeDef structure.
  */
  RCC_OscInitStruct.OscillatorType = RCC_OSCILLATORTYPE_MSI;
  RCC_OscInitStruct.MSIState = RCC_MSI_ON;
  RCC_OscInitStruct.MSICalibrationValue = 0;
  RCC_OscInitStruct.MSIClockRange = RCC_MSIRANGE_6;
  RCC_OscInitStruct.PLL.PLLState = RCC_PLL_ON;
  RCC_OscInitStruct.PLL.PLLSource = RCC_PLLSOURCE_MSI;
  RCC_OscInitStruct.PLL.PLLM = 1;
  RCC_OscInitStruct.PLL.PLLN = 36;
  RCC_OscInitStruct.PLL.PLLP = RCC_PLLP_DIV7;
  RCC_OscInitStruct.PLL.PLLQ = RCC_PLLQ_DIV2;
  RCC_OscInitStruct.PLL.PLLR = RCC_PLLR_DIV2;
  if (HAL_RCC_OscConfig(&RCC_OscInitStruct) != HAL_OK)
  {
    Error_Handler();
  }
  /** Initializes the CPU, AHB and APB buses clocks
  */
  RCC_ClkInitStruct.ClockType = RCC_CLOCKTYPE_HCLK|RCC_CLOCKTYPE_SYSCLK
                              |RCC_CLOCKTYPE_PCLK1|RCC_CLOCKTYPE_PCLK2;
  RCC_ClkInitStruct.SYSCLKSource = RCC_SYSCLKSOURCE_PLLCLK;
  RCC_ClkInitStruct.AHBCLKDivider = RCC_SYSCLK_DIV1;
  RCC_ClkInitStruct.APB1CLKDivider = RCC_HCLK_DIV1;
  RCC_ClkInitStruct.APB2CLKDivider = RCC_HCLK_DIV1;

  if (HAL_RCC_ClockConfig(&RCC_ClkInitStruct, FLASH_LATENCY_4) != HAL_OK)
  {
    Error_Handler();
  }
}

static void MX_TIM3_Init(void)
{

  TIM_MasterConfigTypeDef sMasterConfig = {0};
  TIM_OC_InitTypeDef sConfigOC = {0};

  htim3.Instance = TIM3;
  htim3.Init.Prescaler = 720-1;
  htim3.Init.CounterMode = TIM_COUNTERMODE_UP;
  htim3.Init.Period = 200-1;
  htim3.Init.ClockDivision = TIM_CLOCKDIVISION_DIV1;
  htim3.Init.AutoReloadPreload = TIM_AUTORELOAD_PRELOAD_DISABLE;
  if (HAL_TIM_PWM_Init(&htim3) != HAL_OK)
  {
    Error_Handler();
  }
  sMasterConfig.MasterOutputTrigger = TIM_TRGO_RESET;
  sMasterConfig.MasterSlaveMode = TIM_MASTERSLAVEMODE_DISABLE;
  if (HAL_TIMEx_MasterConfigSynchronization(&htim3, &sMasterConfig) != HAL_OK)
  {
    Error_Handler();
  }
  sConfigOC.OCMode = TIM_OCMODE_PWM1;
  sConfigOC.Pulse = 0;
  sConfigOC.OCPolarity = TIM_OCPOLARITY_HIGH;
  sConfigOC.OCFastMode = TIM_OCFAST_DISABLE;
  if (HAL_TIM_PWM_ConfigChannel(&htim3, &sConfigOC, TIM_CHANNEL_1) != HAL_OK)
  {
    Error_Handler();
  }
  if (HAL_TIM_PWM_ConfigChannel(&htim3, &sConfigOC, TIM_CHANNEL_2) != HAL_OK)
  {
    Error_Handler();
  }
  HAL_TIM_MspPostInit(&htim3);

}

static void MX_TIM4_Init(void)
{

  TIM_MasterConfigTypeDef sMasterConfig = {0};
  TIM_OC_InitTypeDef sConfigOC = {0};

  htim4.Instance = TIM4;
  htim4.Init.Prescaler = 720-1;
  htim4.Init.CounterMode = TIM_COUNTERMODE_UP;
  htim4.Init.Period = 200-1;
  htim4.Init.ClockDivision = TIM_CLOCKDIVISION_DIV1;
  htim4.Init.AutoReloadPreload = TIM_AUTORELOAD_PRELOAD_DISABLE;
  if (HAL_TIM_PWM_Init(&htim4) != HAL_OK)
  {
    Error_Handler();
  }
  sMasterConfig.MasterOutputTrigger = TIM_TRGO_RESET;
  sMasterConfig.MasterSlaveMode = TIM_MASTERSLAVEMODE_DISABLE;
  if (HAL_TIMEx_MasterConfigSynchronization(&htim4, &sMasterConfig) != HAL_OK)
  {
    Error_Handler();
  }
  sConfigOC.OCMode = TIM_OCMODE_PWM1;
  sConfigOC.Pulse = 0;
  sConfigOC.OCPolarity = TIM_OCPOLARITY_HIGH;
  sConfigOC.OCFastMode = TIM_OCFAST_DISABLE;
  if (HAL_TIM_PWM_ConfigChannel(&htim4, &sConfigOC, TIM_CHANNEL_1) != HAL_OK)
  {
    Error_Handler();
  }
  HAL_TIM_MspPostInit(&htim4);

}

static void MX_TIM16_Init(void)
{

  htim16.Instance = TIM16;
  htim16.Init.Prescaler = 720-1;
  htim16.Init.CounterMode = TIM_COUNTERMODE_UP;
  htim16.Init.Period = 100-1;
  htim16.Init.ClockDivision = TIM_CLOCKDIVISION_DIV1;
  htim16.Init.RepetitionCounter = 0;
  htim16.Init.AutoReloadPreload = TIM_AUTORELOAD_PRELOAD_DISABLE;
  if (HAL_TIM_Base_Init(&htim16) != HAL_OK)
  {
    Error_Handler();
  }

}

static void MX_UART4_Init(void)
{

  huart4.Instance = UART4;
  huart4.Init.BaudRate = 9600;
  huart4.Init.WordLength = UART_WORDLENGTH_8B;
  huart4.Init.StopBits = UART_STOPBITS_1;
  huart4.Init.Parity = UART_PARITY_NONE;
  huart4.Init.Mode = UART_MODE_TX_RX;
  huart4.Init.HwFlowCtl = UART_HWCONTROL_NONE;
  huart4.Init.OverSampling = UART_OVERSAMPLING_16;
  huart4.Init.OneBitSampling = UART_ONE_BIT_SAMPLE_DISABLE;
  huart4.AdvancedInit.AdvFeatureInit = UART_ADVFEATURE_NO_INIT;
  if (HAL_UART_Init(&huart4) != HAL_OK)
  {
    Error_Handler();
  }

}

static void MX_USART3_UART_Init(void)
{

  huart3.Instance = USART3;
  huart3.Init.BaudRate = 9600;
  huart3.Init.WordLength = UART_WORDLENGTH_8B;
  huart3.Init.StopBits = UART_STOPBITS_1;
  huart3.Init.Parity = UART_PARITY_NONE;
  huart3.Init.Mode = UART_MODE_TX_RX;
  huart3.Init.HwFlowCtl = UART_HWCONTROL_NONE;
  huart3.Init.OverSampling = UART_OVERSAMPLING_16;
  huart3.Init.OneBitSampling = UART_ONE_BIT_SAMPLE_DISABLE;
  huart3.AdvancedInit.AdvFeatureInit = UART_ADVFEATURE_NO_INIT;
  if (HAL_UART_Init(&huart3) != HAL_OK)
  {
    Error_Handler();
  }

}

static void MX_GPIO_Init(void)
{
  GPIO_InitTypeDef GPIO_InitStruct = {0};

  /* GPIO Ports Clock Enable */
  __HAL_RCC_GPIOH_CLK_ENABLE();
  __HAL_RCC_GPIOC_CLK_ENABLE();
  __HAL_RCC_GPIOA_CLK_ENABLE();
  __HAL_RCC_GPIOB_CLK_ENABLE();
  __HAL_RCC_GPIOD_CLK_ENABLE();

  /*Configure GPIO pin Output Level */
  HAL_GPIO_WritePin(GPIOC, CPU_OUT_C_Pin|ON_OFF_SWITCH_Pin|B_SWITCH_Pin|A_SWITCH_Pin, GPIO_PIN_RESET);

  /*Configure GPIO pin Output Level */
  HAL_GPIO_WritePin(GPIOA, OUT_PWM_ESP_Pin|RELE_FREIO_STM_Pin|CPU_OUT_B_Pin|PWM_OUT_UPA_Pin
                          |CPU_OUT_A_Pin|PWM_OUT_CPU_Pin, GPIO_PIN_RESET);

  /*Configure GPIO pin Output Level */
  HAL_GPIO_WritePin(GPIOB, IO_OUT_ESP_1_Pin|FEEDBACK_CPU_Pin|LED_GREEN_Pin|LED_RED_Pin, GPIO_PIN_RESET);

  /*Configure GPIO pin : CHECK_FONTE_Pin */
  GPIO_InitStruct.Pin = CHECK_FONTE_Pin;
  GPIO_InitStruct.Mode = GPIO_MODE_IT_RISING_FALLING;
  GPIO_InitStruct.Pull = GPIO_NOPULL;
  HAL_GPIO_Init(CHECK_FONTE_GPIO_Port, &GPIO_InitStruct);

  /*Configure GPIO pins : CPU_OUT_C_Pin ON_OFF_SWITCH_Pin B_SWITCH_Pin A_SWITCH_Pin */
  GPIO_InitStruct.Pin = CPU_OUT_C_Pin|ON_OFF_SWITCH_Pin|B_SWITCH_Pin|A_SWITCH_Pin;
  GPIO_InitStruct.Mode = GPIO_MODE_OUTPUT_PP;
  GPIO_InitStruct.Pull = GPIO_NOPULL;
  GPIO_InitStruct.Speed = GPIO_SPEED_FREQ_LOW;
  HAL_GPIO_Init(GPIOC, &GPIO_InitStruct);

  /*Configure GPIO pin : IN_PWM_ESP_Pin */
  GPIO_InitStruct.Pin = IN_PWM_ESP_Pin;
  GPIO_InitStruct.Mode = GPIO_MODE_IT_RISING;
  GPIO_InitStruct.Pull = GPIO_NOPULL;
  HAL_GPIO_Init(IN_PWM_ESP_GPIO_Port, &GPIO_InitStruct);

  /*Configure GPIO pins : OUT_PWM_ESP_Pin RELE_FREIO_STM_Pin CPU_OUT_B_Pin PWM_OUT_UPA_Pin
                           CPU_OUT_A_Pin PWM_OUT_CPU_Pin */
  GPIO_InitStruct.Pin = OUT_PWM_ESP_Pin|RELE_FREIO_STM_Pin|CPU_OUT_B_Pin|PWM_OUT_UPA_Pin
                          |CPU_OUT_A_Pin|PWM_OUT_CPU_Pin;
  GPIO_InitStruct.Mode = GPIO_MODE_OUTPUT_PP;
  GPIO_InitStruct.Pull = GPIO_NOPULL;
  GPIO_InitStruct.Speed = GPIO_SPEED_FREQ_LOW;
  HAL_GPIO_Init(GPIOA, &GPIO_InitStruct);

  /*Configure GPIO pins : IO_OUT_ESP_1_Pin FEEDBACK_CPU_Pin LED_GREEN_Pin LED_RED_Pin */
  GPIO_InitStruct.Pin = IO_OUT_ESP_1_Pin|FEEDBACK_CPU_Pin|LED_GREEN_Pin|LED_RED_Pin;
  GPIO_InitStruct.Mode = GPIO_MODE_OUTPUT_PP;
  GPIO_InitStruct.Pull = GPIO_NOPULL;
  GPIO_InitStruct.Speed = GPIO_SPEED_FREQ_LOW;
  HAL_GPIO_Init(GPIOB, &GPIO_InitStruct);

  /*Configure GPIO pin : IO_OUT_ESP_2_Pin */
  GPIO_InitStruct.Pin = IO_OUT_ESP_2_Pin;
  GPIO_InitStruct.Mode = GPIO_MODE_IT_RISING_FALLING;
  GPIO_InitStruct.Pull = GPIO_NOPULL;
  HAL_GPIO_Init(IO_OUT_ESP_2_GPIO_Port, &GPIO_InitStruct);

  /*Configure GPIO pins : ESP_IN_CLIENT_Pin IN_EXTRA_3_Pin IN_EXTRA_2_Pin CONNECT_ESP_IN_Pin */
  GPIO_InitStruct.Pin = ESP_IN_CLIENT_Pin|IN_EXTRA_3_Pin|IN_EXTRA_2_Pin|CONNECT_ESP_IN_Pin;
  GPIO_InitStruct.Mode = GPIO_MODE_INPUT;
  GPIO_InitStruct.Pull = GPIO_NOPULL;
  HAL_GPIO_Init(GPIOB, &GPIO_InitStruct);

  /*Configure GPIO pins : IN_EXTRA_1_Pin IN_CPU_7_Pin FR_BIT_2_Pin FR_BIT_1_Pin
                           GATE_FR_Pin */
  GPIO_InitStruct.Pin = IN_EXTRA_1_Pin|IN_CPU_7_Pin|FR_BIT_2_Pin|FR_BIT_1_Pin
                          |GATE_FR_Pin;
  GPIO_InitStruct.Mode = GPIO_MODE_INPUT;
  GPIO_InitStruct.Pull = GPIO_NOPULL;
  HAL_GPIO_Init(GPIOC, &GPIO_InitStruct);

  /*Configure GPIO pin : IN_PWM_UPA_Pin */
  GPIO_InitStruct.Pin = IN_PWM_UPA_Pin;
  GPIO_InitStruct.Mode = GPIO_MODE_IT_RISING;
  GPIO_InitStruct.Pull = GPIO_NOPULL;
  HAL_GPIO_Init(IN_PWM_UPA_GPIO_Port, &GPIO_InitStruct);

  /*Configure GPIO pin : IN_CPU_6_Pin */
  GPIO_InitStruct.Pin = IN_CPU_6_Pin;
  GPIO_InitStruct.Mode = GPIO_MODE_IT_RISING_FALLING;
  GPIO_InitStruct.Pull = GPIO_NOPULL;
  HAL_GPIO_Init(IN_CPU_6_GPIO_Port, &GPIO_InitStruct);

  /*Configure GPIO pins : FR_BIT_4_Pin FR_BIT_3_Pin */
  GPIO_InitStruct.Pin = FR_BIT_4_Pin|FR_BIT_3_Pin;
  GPIO_InitStruct.Mode = GPIO_MODE_INPUT;
  GPIO_InitStruct.Pull = GPIO_NOPULL;
  HAL_GPIO_Init(GPIOA, &GPIO_InitStruct);

  /*Configure GPIO pin : IN_PWM_CPU_Pin */
  GPIO_InitStruct.Pin = IN_PWM_CPU_Pin;
  GPIO_InitStruct.Mode = GPIO_MODE_IT_RISING;
  GPIO_InitStruct.Pull = GPIO_NOPULL;
  HAL_GPIO_Init(IN_PWM_CPU_GPIO_Port, &GPIO_InitStruct);

  /* EXTI interrupt init*/
  HAL_NVIC_SetPriority(EXTI0_IRQn, 0, 0);
  HAL_NVIC_EnableIRQ(EXTI0_IRQn);

  HAL_NVIC_SetPriority(EXTI1_IRQn, 0, 0);
  HAL_NVIC_EnableIRQ(EXTI1_IRQn);

  HAL_NVIC_SetPriority(EXTI2_IRQn, 0, 0);
  HAL_NVIC_EnableIRQ(EXTI2_IRQn);

  HAL_NVIC_SetPriority(EXTI3_IRQn, 0, 0);
  HAL_NVIC_EnableIRQ(EXTI3_IRQn);

  HAL_NVIC_SetPriority(EXTI9_5_IRQn, 0, 0);
  HAL_NVIC_EnableIRQ(EXTI9_5_IRQn);

}

void Error_Handler(void)
{
  __disable_irq();
  while (1)
  {
  }
}

/************************ (C) COPYRIGHT STMicroelectronics *****END OF FILE****/
